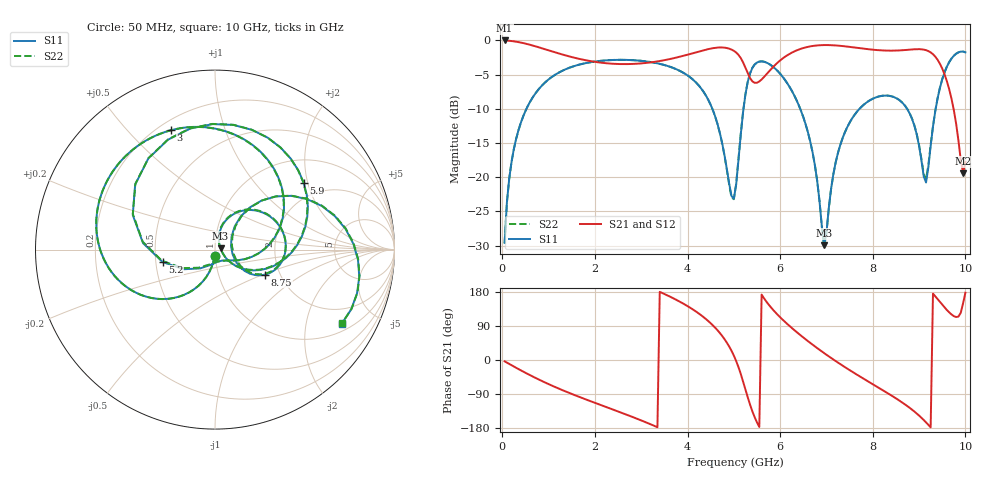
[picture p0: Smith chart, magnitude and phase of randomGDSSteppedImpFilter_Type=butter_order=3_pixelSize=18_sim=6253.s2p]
! freq	dB(S11)	phase(S11)	dB(S12)	phase(S12)
!  dB(S21)	phase(S21)	dB(S22)	phase(S22)
!S-par simulation data
#  GHz  S  DB  R 50
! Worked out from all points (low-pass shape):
!   200 points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, 50 MHz to 10 GHz, reference 50 ohm
!   highest |S21| = -0.01 dB at 50 MHz (marker M1); lowest = -19.4 dB at 9.95 GHz (marker M2)
!   |S21| within 3 dB of the highest: start of sweep to 1.888 GHz; 5.986 GHz to 9.415 GHz (3.429 GHz wide, 44.5 % of centre) (the widest 2 of 3)
!   lowest |S11| = -30.0 dB at 6.95 GHz (marker M3), VSWR 1.07, Z = 53.2 + j0.774 ohm
!   |S11| at or under -10 dB: 4.536 GHz to 5.209 GHz (673.5 MHz wide, 13.8 % of centre); 6.433 GHz to 7.713 GHz (1.28 GHz wide, 18.1 % of centre); 8.741 GHz to 9.359 GHz (618 MHz wide, 6.83 % of centre) (the widest 3 of 4)
!   |S22| runs from -30.1 to -1.6 dB; largest |S21 - S12| = 0
!   S11 on the Smith chart (normalised r, x): 50 MHz: 0.99, -0.07; 3 GHz: 0.25, +0.67; 5.2 GHz: 0.54, -0.08; 5.9 GHz: 1.57, +1.89; 8.75 GHz: 1.68, -0.52; 10 GHz: 1.28, -3.21
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0.05  -29.59 -93.7  -0.01 -3.5  -0.01 -3.5  -29.59 -93.7
0.2  -17.74 -104.3  -0.10 -13.9  -0.10 -13.9  -17.74 -104.3
0.5  -10.32 -124.3  -0.47 -33.8  -0.47 -33.8  -10.31 -124.3
1.75  -3.39 167.9  -2.83 -101.5  -2.83 -101.5  -3.39 168.0
3  -2.99 110.2  -3.37 -159.4  -3.37 -159.4  -2.99 110.5
3.4  -3.43 89.8  -3.02 179.9  -3.02 179.9  -3.43 90.2
4.1  -5.64 46.0  -1.90 134.6  -1.90 134.6  -5.63 46.4
4.6  -11.18 0.6  -1.09 84.8  -1.09 84.8  -11.19 0.7
4.85  -18.84 -31.7  -1.12 45.6  -1.12 45.6  -18.96 -33.4
5.05  -21.07 -105.8  -1.77 -2.6  -1.77 -2.6  -20.96 -111.1
5.2  -10.46 -166.6  -3.23 -56.8  -3.23 -56.8  -10.37 -168.3
5.5  -3.24 101.5  -6.19 -164.7  -6.19 -164.7  -3.23 101.5
5.9  -4.17 36.9  -3.53 125.3  -3.53 125.3  -4.17 37.4
6.7  -16.36 -37.9  -0.82 40.5  -0.82 40.5  -16.36 -37.3
6.95  -29.95 13.2  -0.69 18.1  -0.69 18.1  -30.07 13.8
7.4  -13.40 63.9  -0.87 -18.9  -0.87 -18.9  -13.40 64.9
8.35  -8.10 0.5  -1.50 -89.7  -1.50 -89.7  -8.09 1.6
8.75  -10.09 -26.5  -1.38 -122.0  -1.38 -122.0  -10.07 -25.1
9.15  -20.77 12.8  -1.43 -164.5  -1.43 -164.5  -20.27 13.2
9.55  -4.67 28.8  -4.96 138.7  -4.96 138.7  -4.65 28.9
9.95  -1.63 -23.7  -19.39 149.6  -19.39 149.6  -1.62 -23.2
10  -1.75 -30.4  -17.78 177.5  -17.78 177.5  -1.74 -29.9
